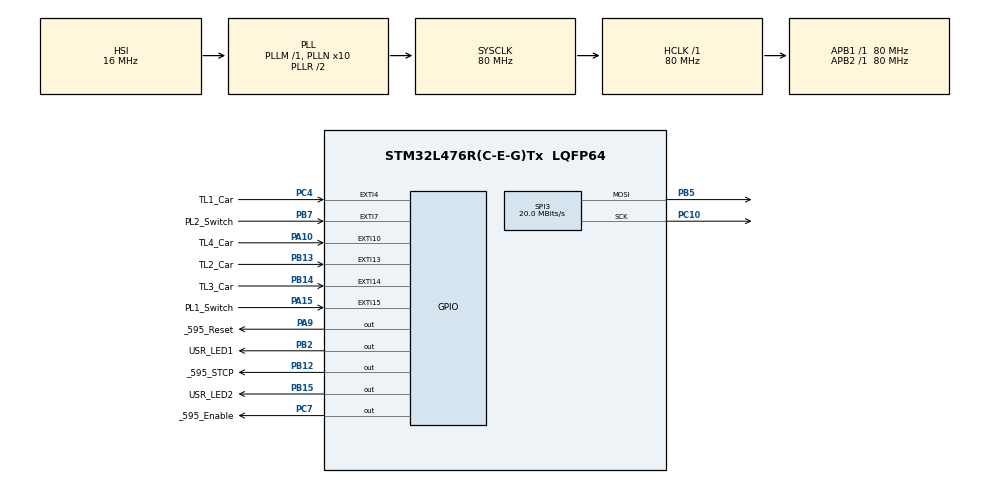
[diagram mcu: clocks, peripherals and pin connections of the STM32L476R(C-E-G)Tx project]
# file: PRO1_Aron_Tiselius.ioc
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FREERTOS.Mutexes01=FourWay,Dynamic,NULL
FREERTOS.Tasks01=defaultTask,24,128,StartDefaultTask,Default,NULL,Dynamic,NULL,NULL;IdleTrafficTask,24,128,IdleTraffic,Default,NULL,Dynamic,NULL,NULL;PedCrossNSTask,32,128,PedCrossNS,Default,NULL,Dynamic,NULL,NULL;TrafficContNSTa,24,128,TrafficContNS,Default,NULL,Dynamic,NULL,NULL;TrafficContEWTa,24,128,TrafficContEW,Default,NULL,Dynamic,NULL,NULL;PedCrossEWTask,32,128,PedCrossEW,Default,NULL,Dynamic,NULL,NULL;NSBlueTask,24,128,NSBlue,Default,NULL,Dynamic,NULL,NULL;EWBlueTask,8,128,EWBlue,Default,NULL,Dynamic,NULL,NULL
FREERTOS.configTOTAL_HEAP_SIZE=8192
Mcu.Family=STM32L4
Mcu.Name=STM32L476R(C-E-G)Tx
Mcu.Package=LQFP64
NVIC.EXTI15_10_IRQn=true\:5\:0\:false\:false\:true\:true\:true\:true\:true
NVIC.EXTI4_IRQn=true\:5\:0\:false\:false\:true\:true\:true\:true\:true
NVIC.EXTI9_5_IRQn=true\:5\:0\:false\:false\:true\:true\:true\:true\:true
NVIC.PriorityGroup=NVIC_PRIORITYGROUP_4
NVIC.TIM1_UP_TIM16_IRQn=true\:15\:0\:false\:false\:true\:false\:false\:true\:true
NVIC.TimeBase=TIM1_UP_TIM16_IRQn
NVIC.TimeBaseIP=TIM1
PA10.GPIO_Label=TL4_Car
PA10.GPIO_ModeDefaultEXTI=GPIO_MODE_IT_RISING_FALLING
PA10.Signal=GPXTI10
PA15\ (JTDI).GPIO_Label=PL1_Switch
PA15\ (JTDI).GPIO_ModeDefaultEXTI=GPIO_MODE_IT_FALLING
PA15\ (JTDI).GPIO_PuPd=GPIO_PULLUP
PA15\ (JTDI).Signal=GPXTI15
PA9.GPIO_Label=_595_Reset
PA9.Signal=GPIO_Output
PB12.GPIO_Label=_595_STCP
PB12.Signal=GPIO_Output
PB13.GPIO_Label=TL2_Car
PB13.GPIO_ModeDefaultEXTI=GPIO_MODE_IT_RISING_FALLING
PB13.Signal=GPXTI13
PB14.GPIO_Label=TL3_Car
PB14.GPIO_ModeDefaultEXTI=GPIO_MODE_IT_RISING_FALLING
PB14.Signal=GPXTI14
PB15.GPIO_Label=USR_LED2
PB15.Signal=GPIO_Output
PB2.GPIO_Label=USR_LED1
PB2.Signal=GPIO_Output
PB5.Mode=TX_Only_Simplex_Unidirect_Master
PB5.Signal=SPI3_MOSI
PB7.GPIO_Label=PL2_Switch
PB7.GPIO_ModeDefaultEXTI=GPIO_MODE_IT_FALLING
PB7.GPIO_PuPd=GPIO_PULLUP
PB7.Signal=GPXTI7
PC10.Mode=TX_Only_Simplex_Unidirect_Master
PC10.Signal=SPI3_SCK
PC4.GPIO_Label=TL1_Car
PC4.GPIO_ModeDefaultEXTI=GPIO_MODE_IT_RISING_FALLING
PC4.Signal=GPXTI4
PC7.GPIO_Label=_595_Enable
PC7.Signal=GPIO_Output
ProjectManager.HeapSize=0x200
ProjectManager.StackSize=0x400
ProjectManager.TargetToolchain=STM32CubeIDE
RCC.ADCFreq_Value=64000000
RCC.AHBFreq_Value=80000000
RCC.APB1Freq_Value=80000000
RCC.APB1TimFreq_Value=80000000
RCC.APB2Freq_Value=80000000
RCC.APB2TimFreq_Value=80000000
RCC.CortexFreq_Value=80000000
RCC.HCLKFreq_Value=80000000
RCC.HSE_VALUE=8000000
RCC.HSI_VALUE=16000000
RCC.LSE_VALUE=32768
RCC.MSI_VALUE=4000000
RCC.PLLN=10
RCC.PLLSourceVirtual=RCC_PLLSOURCE_HSI
RCC.SYSCLKFreq_VALUE=80000000
RCC.SYSCLKSource=RCC_SYSCLKSOURCE_PLLCLK
RCC.USBFreq_Value=64000000
RCC.VCOOutputFreq_Value=160000000
SPI3.BaudRatePrescaler=SPI_BAUDRATEPRESCALER_4
SPI3.CalculateBaudRate=20.0 MBits/s
SPI3.DataSize=SPI_DATASIZE_8BIT
SPI3.Direction=SPI_DIRECTION_2LINES
SPI3.FirstBit=SPI_FIRSTBIT_MSB
SPI3.Mode=SPI_MODE_MASTER
SPI3.VirtualType=VM_MASTER
VP_FREERTOS_VS_CMSIS_V2.Mode=CMSIS_V2
VP_SYS_VS_tim1.Mode=TIM1
board=custom

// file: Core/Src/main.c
/* USER CODE BEGIN Header */
/**
 ******************************************************************************
 * @file           : main.c
 * @brief          : Main program body
 ******************************************************************************
 * @attention
 *
 * Copyright (c) 2023 STMicroelectronics.
 * All rights reserved.
 *
 * This software is licensed under terms that can be found in the LICENSE file
 * in the root directory of this software component.
 * If no LICENSE file comes with this software, it is provided AS-IS.
 *
 ******************************************************************************
 */
/* USER CODE END Header */
#include "main.h"
#include "cmsis_os.h"
#include "spi.h"
#include "gpio.h"

/* USER CODE BEGIN Includes */
#include "functions.h"
#include "test.h"
/* USER CODE END Includes */

void SystemClock_Config(void);
void MX_FREERTOS_Init(void);

int main(void)
{

  /* MCU Configuration--------------------------------------------------------*/

  /* Reset of all peripherals, Initializes the Flash interface and the Systick. */
  HAL_Init();

  /* Configure the system clock */
  SystemClock_Config();

  /* Initialize all configured peripherals */
  MX_GPIO_Init();
  MX_SPI3_Init();
  /* USER CODE BEGIN 2 */
	HAL_GPIO_WritePin(_595_Enable_GPIO_Port, _595_Enable_Pin, 0); //Enable, Active LOW
	HAL_GPIO_WritePin(_595_Reset_GPIO_Port,_595_Reset_Pin, 1); //Master Reset, Active LOW
  /* USER CODE END 2 */

  /* Init scheduler */
  osKernelInitialize();  /* Call init function for freertos objects (in freertos.c) */
  MX_FREERTOS_Init();

  /* Start scheduler */
  osKernelStart();

  /* We should never get here as control is now taken by the scheduler */
  /* Infinite loop */
  /* USER CODE BEGIN WHILE */
	while (1)
	{
		/*Start test*/
		tester();
    /* USER CODE END WHILE */

	}
}

void SystemClock_Config(void)
{
  RCC_OscInitTypeDef RCC_OscInitStruct = {0};
  RCC_ClkInitTypeDef RCC_ClkInitStruct = {0};

  /** Configure the main internal regulator output voltage
  */
  if (HAL_PWREx_ControlVoltageScaling(PWR_REGULATOR_VOLTAGE_SCALE1) != HAL_OK)
  {
    Error_Handler();
  }

  /** Initializes the RCC Oscillators according to the specified parameters
  * in the RCC_OscInitTypeDef structure.
  */
  RCC_OscInitStruct.OscillatorType = RCC_OSCILLATORTYPE_HSI;
  RCC_OscInitStruct.HSIState = RCC_HSI_ON;
  RCC_OscInitStruct.HSICalibrationValue = RCC_HSICALIBRATION_DEFAULT;
  RCC_OscInitStruct.PLL.PLLState = RCC_PLL_ON;
  RCC_OscInitStruct.PLL.PLLSource = RCC_PLLSOURCE_HSI;
  RCC_OscInitStruct.PLL.PLLM = 1;
  RCC_OscInitStruct.PLL.PLLN = 10;
  RCC_OscInitStruct.PLL.PLLP = RCC_PLLP_DIV7;
  RCC_OscInitStruct.PLL.PLLQ = RCC_PLLQ_DIV2;
  RCC_OscInitStruct.PLL.PLLR = RCC_PLLR_DIV2;
  if (HAL_RCC_OscConfig(&RCC_OscInitStruct) != HAL_OK)
  {
    Error_Handler();
  }

  /** Initializes the CPU, AHB and APB buses clocks
  */
  RCC_ClkInitStruct.ClockType = RCC_CLOCKTYPE_HCLK|RCC_CLOCKTYPE_SYSCLK
                              |RCC_CLOCKTYPE_PCLK1|RCC_CLOCKTYPE_PCLK2;
  RCC_ClkInitStruct.SYSCLKSource = RCC_SYSCLKSOURCE_PLLCLK;
  RCC_ClkInitStruct.AHBCLKDivider = RCC_SYSCLK_DIV1;
  RCC_ClkInitStruct.APB1CLKDivider = RCC_HCLK_DIV1;
  RCC_ClkInitStruct.APB2CLKDivider = RCC_HCLK_DIV1;

  if (HAL_RCC_ClockConfig(&RCC_ClkInitStruct, FLASH_LATENCY_4) != HAL_OK)
  {
    Error_Handler();
  }
}

void HAL_TIM_PeriodElapsedCallback(TIM_HandleTypeDef *htim)
{
  if (htim->Instance == TIM1) {
    HAL_IncTick();
  }
}

void Error_Handler(void)
{
	__disable_irq();
	while (1)
	{
	}
}

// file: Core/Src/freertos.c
/* USER CODE BEGIN Header */
/**
 ******************************************************************************
 * File Name          : freertos.c
 * Description        : Code for freertos applications
 ******************************************************************************
 * @attention
 *
 * Copyright (c) 2023 STMicroelectronics.
 * All rights reserved.
 *
 * This software is licensed under terms that can be found in the LICENSE file
 * in the root directory of this software component.
 * If no LICENSE file comes with this software, it is provided AS-IS.
 *
 ******************************************************************************
 */
/* USER CODE END Header */

#include "FreeRTOS.h"
#include "task.h"
#include "main.h"
#include "cmsis_os.h"

/* USER CODE BEGIN Includes */
#include "variables.h"
#include "functions.h"
#include "semphr.h"
/* USER CODE END Includes */

/* Definitions for defaultTask */
osThreadId_t defaultTaskHandle;
const osThreadAttr_t defaultTask_attributes = {
  .name = "defaultTask",
  .stack_size = 128 * 4,
  .priority = (osPriority_t) osPriorityNormal,
};
/* Definitions for IdleTrafficTask */
osThreadId_t IdleTrafficTaskHandle;
const osThreadAttr_t IdleTrafficTask_attributes = {
  .name = "IdleTrafficTask",
  .stack_size = 128 * 4,
  .priority = (osPriority_t) osPriorityNormal,
};
/* Definitions for PedCrossNSTask */
osThreadId_t PedCrossNSTaskHandle;
const osThreadAttr_t PedCrossNSTask_attributes = {
  .name = "PedCrossNSTask",
  .stack_size = 128 * 4,
  .priority = (osPriority_t) osPriorityAboveNormal,
};
/* Definitions for TrafficContNSTa */
osThreadId_t TrafficContNSTaHandle;
const osThreadAttr_t TrafficContNSTa_attributes = {
  .name = "TrafficContNSTa",
  .stack_size = 128 * 4,
  .priority = (osPriority_t) osPriorityNormal,
};
/* Definitions for TrafficContEWTa */
osThreadId_t TrafficContEWTaHandle;
const osThreadAttr_t TrafficContEWTa_attributes = {
  .name = "TrafficContEWTa",
  .stack_size = 128 * 4,
  .priority = (osPriority_t) osPriorityNormal,
};
/* Definitions for PedCrossEWTask */
osThreadId_t PedCrossEWTaskHandle;
const osThreadAttr_t PedCrossEWTask_attributes = {
  .name = "PedCrossEWTask",
  .stack_size = 128 * 4,
  .priority = (osPriority_t) osPriorityAboveNormal,
};
/* Definitions for NSBlueTask */
osThreadId_t NSBlueTaskHandle;
const osThreadAttr_t NSBlueTask_attributes = {
  .name = "NSBlueTask",
  .stack_size = 128 * 4,
  .priority = (osPriority_t) osPriorityNormal,
};
/* Definitions for EWBlueTask */
osThreadId_t EWBlueTaskHandle;
const osThreadAttr_t EWBlueTask_attributes = {
  .name = "EWBlueTask",
  .stack_size = 128 * 4,
  .priority = (osPriority_t) osPriorityLow,
};
/* Definitions for FourWay */
osMutexId_t FourWayHandle;
const osMutexAttr_t FourWay_attributes = {
  .name = "FourWay"
};

void StartDefaultTask(void *argument);
void IdleTraffic(void *argument);
void PedCrossNS(void *argument);
void TrafficContNS(void *argument);
void TrafficContEW(void *argument);
void PedCrossEW(void *argument);
void NSBlue(void *argument);
void EWBlue(void *argument);

void MX_FREERTOS_Init(void); /* (MISRA C 2004 rule 8.1) */

void MX_FREERTOS_Init(void) {
  /* Create the mutex(es) */
  /* creation of FourWay */
  FourWayHandle = osMutexNew(&FourWay_attributes);

  /* Create the thread(s) */
  /* creation of defaultTask */
  defaultTaskHandle = osThreadNew(StartDefaultTask, NULL, &defaultTask_attributes);

  /* creation of IdleTrafficTask */
  IdleTrafficTaskHandle = osThreadNew(IdleTraffic, NULL, &IdleTrafficTask_attributes);

  /* creation of PedCrossNSTask */
  PedCrossNSTaskHandle = osThreadNew(PedCrossNS, NULL, &PedCrossNSTask_attributes);

  /* creation of TrafficContNSTa */
  TrafficContNSTaHandle = osThreadNew(TrafficContNS, NULL, &TrafficContNSTa_attributes);

  /* creation of TrafficContEWTa */
  TrafficContEWTaHandle = osThreadNew(TrafficContEW, NULL, &TrafficContEWTa_attributes);

  /* creation of PedCrossEWTask */
  PedCrossEWTaskHandle = osThreadNew(PedCrossEW, NULL, &PedCrossEWTask_attributes);

  /* creation of NSBlueTask */
  NSBlueTaskHandle = osThreadNew(NSBlue, NULL, &NSBlueTask_attributes);

  /* creation of EWBlueTask */
  EWBlueTaskHandle = osThreadNew(EWBlue, NULL, &EWBlueTask_attributes);

}

void StartDefaultTask(void *argument)
{
	for(;;)
	{
		osDelay(1);
	}
}

/* USER CODE BEGIN Header_IdleTraffic */
/**
 * @brief IdleTraffic implements the requirement R2.4.
 * @param argument: Not used
 * @retval None
 */
/* USER CODE END Header_IdleTraffic */
void IdleTraffic(void *argument)
{
  /* USER CODE BEGIN IdleTraffic */
	TickType_t xLastWakeTime;
	const TickType_t xPeriod = pdMS_TO_TICKS(100) ; // ms to ticks
	// Initialize the xLastWakeTime variable with the current time.
	xLastWakeTime = xTaskGetTickCount();

	/* Infinite loop */
	for(;;)
	{
		if(!(TL1_Car_Flag || TL3_Car_Flag) && !(TL2_Car_Flag || TL4_Car_Flag)){ //No cars
			if(EWTrafficFlag){ //Traffic is allowed EW
				/*Change the trafic to NS, delay greenDelay*/
				xSemaphoreTake( FourWayHandle, portMAX_DELAY);

				pedestrianOffEW();
				pedestrianOffNS();

				trafficTransition();
				trafficOnNS();
				trafficOffEW();
				pedestrianOnNS();

				xSemaphoreGive(FourWayHandle);
				vTaskDelay(pdMS_TO_TICKS(greenDelay));
			}
			else{//Traffic is allowed NS
				/*Change the trafic to EW, delay greenDelay*/
				xSemaphoreTake( FourWayHandle, portMAX_DELAY);
				pedestrianOffEW();
				pedestrianOffNS();

				trafficTransition();
				trafficOnEW();
				trafficOffNS();
				pedestrianOnEW();

				xSemaphoreGive(FourWayHandle);
				vTaskDelay(pdMS_TO_TICKS(greenDelay));
			}
		}

		vTaskDelayUntil( &xLastWakeTime, xPeriod );
	}
  /* USER CODE END IdleTraffic */
}

/* USER CODE BEGIN Header_PedCrossNS */
/**
 * @brief PedCrossNS handles the NS pedestrian crossing events.
 * @param argument: Not used
 * @retval None
 */
/* USER CODE END Header_PedCrossNS */
void PedCrossNS(void *argument)
{
  /* USER CODE BEGIN PedCrossNS */
	TickType_t xLastWakeTime;
	const TickType_t xPeriod = pdMS_TO_TICKS(50) ; // ms to ticks
	// Initialize the xLastWakeTime variable with the current time.
	xLastWakeTime = xTaskGetTickCount();
	/* Infinite loop */
	for(;;)
	{
		if(PL1_Switch_Flag){ //Button has been pressed.
			if(!NSPedestrianFlag){ //The light is not already green
				while(NSPedTransitioning){ //Wait if the lights are transitioning. It causes trouble otherwise.
					osDelay(1);
				}
				if(!NSPedestrianFlag){ //After the delay the light might have turned green. Check again.
					while(!NSTrafficFlag){ //Waits for NS traffic to turn green.
						osDelay(1);
					}
					xSemaphoreTake(FourWayHandle, portMAX_DELAY);
					/*Makes the light green and resets the flag.*/
					pedestrianOnNS();
					pedestrianOffEW();
					PL1_Switch_Flag = 0;

					vTaskDelay(pdMS_TO_TICKS(walkingDelay));
					xSemaphoreGive(FourWayHandle);
				}
			}
			PL1_Switch_Flag = 0; //Resets the flag even if the light wasn't changed.
		}
		vTaskDelayUntil( &xLastWakeTime, xPeriod );
	}
  /* USER CODE END PedCrossNS */
}

/* USER CODE BEGIN Header_TrafficContNS */
/**
 * @brief TrafficContNS handles light behavior when there is a car NS.
 * @param argument: Not used
 * @retval None
 */
/* USER CODE END Header_TrafficContNS */
void TrafficContNS(void *argument)
{
  /* USER CODE BEGIN TrafficContNS */
	trafficOnEW();
	trafficOffNS();

	TickType_t xLastWakeTime;
	const TickType_t xPeriod = pdMS_TO_TICKS(50) ; // ms to ticks
	// Initialize the xLastWakeTime variable with the current time.
	xLastWakeTime = xTaskGetTickCount();  /* Infinite loop */

	for(;;)
	{
		if(TL2_Car_Flag || TL4_Car_Flag){ //There is a car NS.
			if(EWTrafficFlag){	//Current traffic light is EW.
				if((TL1_Car_Flag || TL3_Car_Flag)) {	//If there's a car EW we have to wait.
					vTaskDelay(pdMS_TO_TICKS(redDelayMax));
					if(!PL2_Switch_Flag){ //No overlapping pedestrian crossing
						xSemaphoreTake( FourWayHandle, portMAX_DELAY);
						/*Transition NS to green, EW to red.*/
						pedestrianOffEW();
						pedestrianOffNS();

						trafficTransition();
						trafficOnNS();
						trafficOffEW();
						pedestrianOnNS();
						xSemaphoreGive(FourWayHandle);
					}
				}
				else{									//If there is no car EW, just go.
					if(!PL2_Switch_Flag){ //No overlapping pedestrian crossing
						xSemaphoreTake( FourWayHandle, portMAX_DELAY);
						/*Transition NS to green, EW to red.*/

						pedestrianOffEW();
						pedestrianOffNS();

						trafficTransition();
						trafficOnNS();
						trafficOffEW();
						pedestrianOnNS();
						xSemaphoreGive(FourWayHandle);
					}
				}
			}
			else if(!PL2_Switch_Flag){ //Light is already green and no active pedestrian crossing causing overlap
				osDelay(1);
			}
			else{ //Light is already green, but there is an active pedestrian crossing.
				xSemaphoreTake( FourWayHandle, portMAX_DELAY);
				/*Transition EW to green, NS to red.*/
				pedestrianOffEW();
				pedestrianOffNS();

				trafficTransition();
				trafficOnEW();
				trafficOffNS();
				pedestrianOnEW();
				xSemaphoreGive(FourWayHandle);
			}
		}

		vTaskDelayUntil( &xLastWakeTime, xPeriod );
	}

  /* USER CODE END TrafficContNS */
}

/* USER CODE BEGIN Header_TrafficContEW */
/**
 * @brief TrafficContEW handles light behavior when there is a car EW.
 * @param argument: Not used
 * @retval None
 */
/* USER CODE END Header_TrafficContEW */
void TrafficContEW(void *argument)
{
  /* USER CODE BEGIN TrafficContEW */
	TickType_t xLastWakeTime;
	const TickType_t xPeriod = pdMS_TO_TICKS(90) ; // ms to ticks
	// Initialize the xLastWakeTime variable with the current time.
	xLastWakeTime = xTaskGetTickCount();
	/* Infinite loop */
	for(;;)
	{

		if(TL1_Car_Flag || TL3_Car_Flag){ //There is a car EW.
			if(NSTrafficFlag){	//Current traffic light is NS.

				if(TL2_Car_Flag || TL4_Car_Flag){	//If there's a car NS we have to wait.
					vTaskDelay(pdMS_TO_TICKS(redDelayMax));
					if(!PL1_Switch_Flag){ //No overlapping pedestrian crossing
						xSemaphoreTake( FourWayHandle, portMAX_DELAY);
						/*Transition EW to green, NS to red.*/
						pedestrianOffEW();
						pedestrianOffNS();

						trafficTransition();
						trafficOnEW();
						trafficOffNS();

						pedestrianOnEW();
						xSemaphoreGive(FourWayHandle);
					}
				}
				else{	//If there is no car NS, just go.
					if(!PL1_Switch_Flag){ //No overlapping pedestrian crossing
						xSemaphoreTake( FourWayHandle, portMAX_DELAY);
						/*Transition EW to green, NS to red.*/
						pedestrianOffEW();
						pedestrianOffNS();

						trafficTransition();
						trafficOnEW();
						trafficOffNS();

						pedestrianOnEW();
						xSemaphoreGive(FourWayHandle);
					}
				}
			}
			else if(!PL1_Switch_Flag){ //Light is already green and no active pedestrian crossing causing overlap
				osDelay(1);
			}

			else{ //Light is already green, but there is an active pedestrian crossing.
				xSemaphoreTake( FourWayHandle, portMAX_DELAY);
				/*Transition NS to green, EW to red.*/
				pedestrianOffEW();
				pedestrianOffNS();

				trafficTransition();
				trafficOnNS();
				trafficOffEW();
				xSemaphoreGive(FourWayHandle);
			}
		}

		vTaskDelayUntil( &xLastWakeTime, xPeriod );
	}
  /* USER CODE END TrafficContEW */
}

/* USER CODE BEGIN Header_PedCrossEW */
/**
 * @brief PedCrossNS handles the EW pedestrian crossing events.
 * @param argument: Not used
 * @retval None
 */
/* USER CODE END Header_PedCrossEW */
void PedCrossEW(void *argument)
{
  /* USER CODE BEGIN PedCrossEW */
	TickType_t xLastWakeTime;
	const TickType_t xPeriod = pdMS_TO_TICKS(50) ; // ms to ticks
	// Initialize the xLastWakeTime variable with the current time.
	xLastWakeTime = xTaskGetTickCount();
	/* Infinite loop */
	for(;;)
	{
		if(PL2_Switch_Flag){ //Button has been pressed.
			if(!EWPedestrianFlag){ //The light is not already green
				while(EWPedTransitioning){ //Wait if the lights are transitioning. It causes trouble otherwise.
					osDelay(1);
				}
				if(!EWPedestrianFlag){ //After the delay the light might have turned green. Check again.
					while(!EWTrafficFlag){//Waits for EW traffic to turn green.
						osDelay(1);
					}
					xSemaphoreTake(FourWayHandle, portMAX_DELAY);
					/*Makes the light green and resets the flag.*/
					pedestrianOnEW();
					pedestrianOffNS();
					PL2_Switch_Flag = 0;

					vTaskDelay(pdMS_TO_TICKS(walkingDelay));
					xSemaphoreGive(FourWayHandle);
				}
			}
			PL2_Switch_Flag = 0; //Resets the flag even if the light wasn't changed.
		}
		vTaskDelayUntil( &xLastWakeTime, xPeriod );
	}
  /* USER CODE END PedCrossEW */
}

/* USER CODE BEGIN Header_NSBlue */
/**
 * @brief NSBlue is responsible for flashing the NS blue light when needed.
 * @param argument: Not used
 * @retval None
 */
/* USER CODE END Header_NSBlue */
void NSBlue(void *argument)
{
  /* USER CODE BEGIN NSBlue */
	TickType_t xLastWakeTime;
	const TickType_t xPeriod = pdMS_TO_TICKS(1000/toggleFreq) ; // ms to ticks
	// Initialize the xLastWakeTime variable with the current time.
	xLastWakeTime = xTaskGetTickCount();
	/* Infinite loop */
	for(;;)
	{
		if(PL1_Switch_Flag && !NSPedestrianFlag){
			setLeds(P1_Blue);
			vTaskDelay(pdMS_TO_TICKS(1000/toggleFreq)/2);
			resetLeds(P1_Blue);
			vTaskDelay(pdMS_TO_TICKS(1000/toggleFreq)/2);
		}
		vTaskDelayUntil( &xLastWakeTime, xPeriod );
	}
  /* USER CODE END NSBlue */
}

/* USER CODE BEGIN Header_EWBlue */
/**
 * @brief EWBlue is responsible for flashing the EW blue light when needed.
 * @param argument: Not used
 * @retval None
 */
/* USER CODE END Header_EWBlue */
void EWBlue(void *argument)
{
  /* USER CODE BEGIN EWBlue */
	TickType_t xLastWakeTime;
	const TickType_t xPeriod = pdMS_TO_TICKS(1000/toggleFreq) ; // ms to ticks
	// Initialize the xLastWakeTime variable with the current time.
	xLastWakeTime = xTaskGetTickCount();
	/* Infinite loop */
	for(;;)
	{
		if(PL2_Switch_Flag && !EWPedestrianFlag){
			setLeds(P2_Blue);
			vTaskDelay(pdMS_TO_TICKS(1000/toggleFreq)/2);
			resetLeds(P2_Blue);
			vTaskDelay(pdMS_TO_TICKS(1000/toggleFreq)/2);
		}
		vTaskDelayUntil( &xLastWakeTime, xPeriod );
	}
  /* USER CODE END EWBlue */
}
